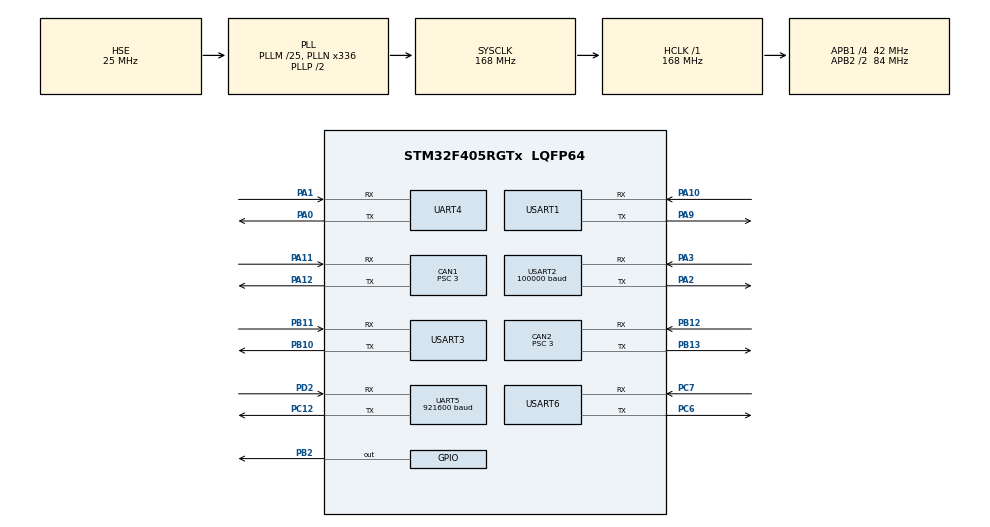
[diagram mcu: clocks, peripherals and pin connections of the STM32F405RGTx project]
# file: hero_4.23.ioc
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CAN1.ABOM=ENABLE
CAN1.AWUM=ENABLE
CAN1.BS1=CAN_BS1_9TQ
CAN1.BS2=CAN_BS2_4TQ
CAN1.CalculateBaudRate=1000000
CAN1.CalculateTimeBit=1000
CAN1.CalculateTimeQuantum=71.42857142857143
CAN1.NART=DISABLE
CAN1.Prescaler=3
CAN1.TXFP=ENABLE
CAN2.ABOM=ENABLE
CAN2.AWUM=ENABLE
CAN2.BS1=CAN_BS1_9TQ
CAN2.BS2=CAN_BS2_4TQ
CAN2.CalculateBaudRate=1000000
CAN2.CalculateTimeBit=1000
CAN2.CalculateTimeQuantum=71.42857142857143
CAN2.NART=ENABLE
CAN2.Prescaler=3
CAN2.TXFP=ENABLE
Dma.Request0=USART2_RX
Dma.Request1=UART4_RX
Dma.Request2=UART5_RX
Dma.Request3=USART1_RX
Dma.Request4=USART6_RX
Dma.Request5=USART6_TX
Dma.Request6=UART5_TX
Dma.UART4_RX.1.Direction=DMA_PERIPH_TO_MEMORY
Dma.UART4_RX.1.FIFOMode=DMA_FIFOMODE_DISABLE
Dma.UART4_RX.1.Instance=DMA1_Stream2
Dma.UART4_RX.1.MemDataAlignment=DMA_MDATAALIGN_BYTE
Dma.UART4_RX.1.MemInc=DMA_MINC_ENABLE
Dma.UART4_RX.1.Mode=DMA_CIRCULAR
Dma.UART4_RX.1.PeriphDataAlignment=DMA_PDATAALIGN_BYTE
Dma.UART4_RX.1.PeriphInc=DMA_PINC_DISABLE
Dma.UART4_RX.1.Priority=DMA_PRIORITY_VERY_HIGH
Dma.UART5_RX.2.Direction=DMA_PERIPH_TO_MEMORY
Dma.UART5_RX.2.FIFOMode=DMA_FIFOMODE_DISABLE
Dma.UART5_RX.2.Instance=DMA1_Stream0
Dma.UART5_RX.2.MemDataAlignment=DMA_MDATAALIGN_BYTE
Dma.UART5_RX.2.MemInc=DMA_MINC_ENABLE
Dma.UART5_RX.2.Mode=DMA_CIRCULAR
Dma.UART5_RX.2.PeriphDataAlignment=DMA_PDATAALIGN_BYTE
Dma.UART5_RX.2.PeriphInc=DMA_PINC_DISABLE
Dma.UART5_RX.2.Priority=DMA_PRIORITY_LOW
Dma.UART5_TX.6.Direction=DMA_MEMORY_TO_PERIPH
Dma.UART5_TX.6.FIFOMode=DMA_FIFOMODE_DISABLE
Dma.UART5_TX.6.Instance=DMA1_Stream7
Dma.UART5_TX.6.MemDataAlignment=DMA_MDATAALIGN_BYTE
Dma.UART5_TX.6.MemInc=DMA_MINC_ENABLE
Dma.UART5_TX.6.Mode=DMA_CIRCULAR
Dma.UART5_TX.6.PeriphDataAlignment=DMA_PDATAALIGN_BYTE
Dma.UART5_TX.6.PeriphInc=DMA_PINC_DISABLE
Dma.UART5_TX.6.Priority=DMA_PRIORITY_LOW
Dma.USART1_RX.3.Direction=DMA_PERIPH_TO_MEMORY
Dma.USART1_RX.3.FIFOMode=DMA_FIFOMODE_DISABLE
Dma.USART1_RX.3.Instance=DMA2_Stream2
Dma.USART1_RX.3.MemDataAlignment=DMA_MDATAALIGN_BYTE
Dma.USART1_RX.3.MemInc=DMA_MINC_ENABLE
Dma.USART1_RX.3.Mode=DMA_CIRCULAR
Dma.USART1_RX.3.PeriphDataAlignment=DMA_PDATAALIGN_BYTE
Dma.USART1_RX.3.PeriphInc=DMA_PINC_DISABLE
Dma.USART1_RX.3.Priority=DMA_PRIORITY_VERY_HIGH
Dma.USART2_RX.0.Direction=DMA_PERIPH_TO_MEMORY
Dma.USART2_RX.0.FIFOMode=DMA_FIFOMODE_DISABLE
Dma.USART2_RX.0.Instance=DMA1_Stream5
Dma.USART2_RX.0.MemDataAlignment=DMA_MDATAALIGN_BYTE
Dma.USART2_RX.0.MemInc=DMA_MINC_ENABLE
Dma.USART2_RX.0.Mode=DMA_NORMAL
Dma.USART2_RX.0.PeriphDataAlignment=DMA_PDATAALIGN_BYTE
Dma.USART2_RX.0.PeriphInc=DMA_PINC_DISABLE
Dma.USART2_RX.0.Priority=DMA_PRIORITY_VERY_HIGH
Dma.USART6_RX.4.Direction=DMA_PERIPH_TO_MEMORY
Dma.USART6_RX.4.FIFOMode=DMA_FIFOMODE_DISABLE
Dma.USART6_RX.4.Instance=DMA2_Stream1
Dma.USART6_RX.4.MemDataAlignment=DMA_MDATAALIGN_BYTE
Dma.USART6_RX.4.MemInc=DMA_MINC_ENABLE
Dma.USART6_RX.4.Mode=DMA_CIRCULAR
Dma.USART6_RX.4.PeriphDataAlignment=DMA_PDATAALIGN_BYTE
Dma.USART6_RX.4.PeriphInc=DMA_PINC_DISABLE
Dma.USART6_RX.4.Priority=DMA_PRIORITY_LOW
Dma.USART6_TX.5.Direction=DMA_MEMORY_TO_PERIPH
Dma.USART6_TX.5.FIFOMode=DMA_FIFOMODE_DISABLE
Dma.USART6_TX.5.Instance=DMA2_Stream6
Dma.USART6_TX.5.MemDataAlignment=DMA_MDATAALIGN_BYTE
Dma.USART6_TX.5.MemInc=DMA_MINC_ENABLE
Dma.USART6_TX.5.Mode=DMA_CIRCULAR
Dma.USART6_TX.5.PeriphDataAlignment=DMA_PDATAALIGN_BYTE
Dma.USART6_TX.5.PeriphInc=DMA_PINC_DISABLE
Dma.USART6_TX.5.Priority=DMA_PRIORITY_LOW
FREERTOS.BinarySemaphores01=Imu_flag,Dynamic,NULL;Rc_flag,Dynamic,NULL;Ranging_flag,Dynamic,NULL
FREERTOS.INCLUDE_vTaskDelayUntil=1
FREERTOS.Tasks01=Running,-3,128,Task_Is_Running,Default,NULL,Dynamic,NULL,NULL;Gimbal__Task,0,512,Gimbal_Task,As external,NULL,Dynamic,NULL,NULL;can__Task,-1,512,can_Task,As external,NULL,Dynamic,NULL,NULL;Shoot__Task,0,512,Shoot_task,As external,NULL,Dynamic,NULL,NULL;vofa__task,-2,128,vofa__Task,As external,NULL,Dynamic,NULL,NULL
Mcu.Family=STM32F4
Mcu.Name=STM32F405RGTx
Mcu.Package=LQFP64
NVIC.CAN1_RX0_IRQn=true\:5\:0\:true\:false\:true\:true\:true\:true\:true
NVIC.CAN2_RX0_IRQn=true\:5\:0\:true\:false\:true\:true\:true\:true\:true
NVIC.DMA1_Stream0_IRQn=true\:5\:0\:false\:false\:true\:true\:false\:true\:true
NVIC.DMA1_Stream2_IRQn=true\:5\:0\:false\:false\:true\:true\:false\:true\:true
NVIC.DMA1_Stream5_IRQn=true\:5\:0\:true\:false\:true\:true\:false\:true\:true
NVIC.DMA1_Stream7_IRQn=true\:5\:0\:false\:false\:true\:true\:false\:true\:true
NVIC.DMA2_Stream1_IRQn=true\:5\:0\:false\:false\:true\:true\:false\:true\:true
NVIC.DMA2_Stream2_IRQn=true\:5\:0\:false\:false\:true\:true\:false\:true\:true
NVIC.DMA2_Stream6_IRQn=true\:5\:0\:false\:false\:true\:true\:false\:true\:true
NVIC.PriorityGroup=NVIC_PRIORITYGROUP_4
NVIC.TIM8_TRG_COM_TIM14_IRQn=true\:15\:0\:true\:false\:true\:false\:false\:true\:true
NVIC.TimeBase=TIM8_TRG_COM_TIM14_IRQn
NVIC.TimeBaseIP=TIM14
NVIC.UART4_IRQn=true\:8\:0\:true\:false\:true\:true\:true\:true\:true
NVIC.UART5_IRQn=true\:5\:0\:true\:false\:true\:true\:true\:true\:true
NVIC.USART1_IRQn=true\:7\:0\:true\:false\:true\:true\:true\:true\:true
NVIC.USART2_IRQn=true\:7\:0\:true\:false\:true\:true\:true\:true\:true
NVIC.USART6_IRQn=true\:5\:0\:false\:false\:true\:true\:true\:true\:true
PA0-WKUP.Mode=Asynchronous
PA0-WKUP.Signal=UART4_TX
PA1.Mode=Asynchronous
PA1.Signal=UART4_RX
PA10.Mode=Asynchronous
PA10.Signal=USART1_RX
PA11.GPIO_PuPd=GPIO_NOPULL
PA11.Mode=CAN_Activate
PA11.Signal=CAN1_RX
PA12.Mode=CAN_Activate
PA12.Signal=CAN1_TX
PA13.Mode=Serial_Wire
PA13.Signal=SYS_JTMS-SWDIO
PA14.Mode=Serial_Wire
PA14.Signal=SYS_JTCK-SWCLK
PA2.GPIO_PuPd=GPIO_PULLUP
PA2.Mode=Asynchronous
PA2.Signal=USART2_TX
PA3.GPIO_PuPd=GPIO_PULLUP
PA3.Mode=Asynchronous
PA3.Signal=USART2_RX
PA9.Mode=Asynchronous
PA9.Signal=USART1_TX
PB10.Mode=Asynchronous
PB10.Signal=USART3_TX
PB11.Mode=Asynchronous
PB11.Signal=USART3_RX
PB12.Mode=CAN_Activate
PB12.Signal=CAN2_RX
PB13.Mode=CAN_Activate
PB13.Signal=CAN2_TX
PB2.Signal=GPIO_Output
PC12.Mode=Asynchronous
PC12.Signal=UART5_TX
PC6.Mode=Asynchronous
PC6.Signal=USART6_TX
PC7.Mode=Asynchronous
PC7.Signal=USART6_RX
PD2.Mode=Asynchronous
PD2.Signal=UART5_RX
PH0-OSC_IN.Mode=HSE-External-Oscillator
PH0-OSC_IN.Signal=RCC_OSC_IN
PH1-OSC_OUT.Mode=HSE-External-Oscillator
PH1-OSC_OUT.Signal=RCC_OSC_OUT
ProjectManager.HeapSize=0x800
ProjectManager.StackSize=0x800
ProjectManager.TargetToolchain=MDK-ARM V5
RCC.48MHZClocksFreq_Value=84000000
RCC.AHBFreq_Value=168000000
RCC.APB1CLKDivider=RCC_HCLK_DIV4
RCC.APB1Freq_Value=42000000
RCC.APB1TimFreq_Value=84000000
RCC.APB2CLKDivider=RCC_HCLK_DIV2
RCC.APB2Freq_Value=84000000
RCC.APB2TimFreq_Value=168000000
RCC.CortexFreq_Value=168000000
RCC.HCLKFreq_Value=168000000
RCC.HSE_VALUE=25000000
RCC.HSI_VALUE=16000000
RCC.LSE_VALUE=32768
RCC.PLLM=25
RCC.PLLN=336
RCC.PLLSourceVirtual=RCC_PLLSOURCE_HSE
RCC.SYSCLKFreq_VALUE=168000000
RCC.SYSCLKSource=RCC_SYSCLKSOURCE_PLLCLK
RCC.VCOOutputFreq_Value=336000000
STMicroelectronics.X-CUBE-ALGOBUILD.1.3.0.LibraryCcDSPOoLibraryJjDSPOoLibrary=true
UART4.VirtualMode=Asynchronous
UART5.BaudRate=921600
UART5.VirtualMode=Asynchronous
USART1.VirtualMode=VM_ASYNC
USART2.BaudRate=100000
USART2.Parity=PARITY_EVEN
USART2.VirtualMode=VM_ASYNC
USART2.WordLength=WORDLENGTH_9B
USART3.VirtualMode=VM_ASYNC
USART6.VirtualMode=VM_ASYNC
VP_FREERTOS_VS_CMSIS_V1.Mode=CMSIS_V1
VP_STMicroelectronics.X-CUBE-ALGOBUILD_VS_DSPOoLibraryJjLibrary_1.3.0_1.3.0.Mode=DSPOoLibraryJjLibrary
VP_SYS_VS_tim14.Mode=TIM14
board=custom

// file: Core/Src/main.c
/* USER CODE BEGIN Header */
/**
  ******************************************************************************
  * @file           : main.c
  * @brief          : Main program body
  ******************************************************************************
  * @attention
  *
  * Copyright (c) 2023 STMicroelectronics.
  * All rights reserved.
  *
  * This software is licensed under terms that can be found in the LICENSE file
  * in the root directory of this software component.
  * If no LICENSE file comes with this software, it is provided AS-IS.
  *
  ******************************************************************************
  */
/* USER CODE END Header */
#include "main.h"
#include "cmsis_os.h"
#include "can.h"
#include "dma.h"
#include "usart.h"
#include "gpio.h"

/* USER CODE BEGIN Includes */
#include "imu_data_decode.h"
#include "Ranging.h"
/* USER CODE END Includes */

/* USER CODE BEGIN PV */
extern volatile uint8_t sbus_rx_buffer[2][18u];
extern uint8_t UART5_temp[128];
extern uint8_t ranging_rc_buffer[8];
/* USER CODE END PV */

void SystemClock_Config(void);
void MX_FREERTOS_Init(void);

int main(void)
{

  /* MCU Configuration--------------------------------------------------------*/

  /* Reset of all peripherals, Initializes the Flash interface and the Systick. */
  HAL_Init();

  /* Configure the system clock */
  SystemClock_Config();

  /* Initialize all configured peripherals */
  MX_GPIO_Init();
  MX_DMA_Init();
  MX_CAN1_Init();
  MX_CAN2_Init();
  MX_USART2_UART_Init();
  MX_UART5_Init();
  MX_USART3_UART_Init();
  MX_UART4_Init();
  MX_USART1_UART_Init();
  MX_USART6_UART_Init();
  /* USER CODE BEGIN 2 */

	/*CAN config*/
	CAN1_Filter_Config_and_Start();
	CAN2_Filter_Config_and_Start();
	/*RC_dma_receive*/
  f_RC_data_init();
	__HAL_UART_ENABLE_IT(&huart2,UART_IT_IDLE);
	HAL_UART_Receive_DMA(&huart2,(uint8_t*)&sbus_rx_buffer[0][0],18u);
  /*Imu_receive*/
  __HAL_UART_ENABLE_IT(&huart5, UART_IT_IDLE);
	HAL_UART_Receive_DMA(&huart5,UART5_temp,128);

	__HAL_UART_ENABLE_IT(&huart6,UART_IT_IDLE);
	HAL_UART_Receive_DMA(&huart6,(uint8_t*)&ranging_rc_buffer[0],8u);
  f_ranging_init();
  /* USER CODE END 2 */

  /* Call init function for freertos objects (in freertos.c) */
  MX_FREERTOS_Init();

  /* Start scheduler */
  osKernelStart();
  /* We should never get here as control is now taken by the scheduler */
  /* Infinite loop */
  while (1)
  {

  }
}

void SystemClock_Config(void)
{
  RCC_OscInitTypeDef RCC_OscInitStruct = {0};
  RCC_ClkInitTypeDef RCC_ClkInitStruct = {0};

  /** Configure the main internal regulator output voltage
  */
  __HAL_RCC_PWR_CLK_ENABLE();
  __HAL_PWR_VOLTAGESCALING_CONFIG(PWR_REGULATOR_VOLTAGE_SCALE1);

  /** Initializes the RCC Oscillators according to the specified parameters
  * in the RCC_OscInitTypeDef structure.
  */
  RCC_OscInitStruct.OscillatorType = RCC_OSCILLATORTYPE_HSE;
  RCC_OscInitStruct.HSEState = RCC_HSE_ON;
  RCC_OscInitStruct.PLL.PLLState = RCC_PLL_ON;
  RCC_OscInitStruct.PLL.PLLSource = RCC_PLLSOURCE_HSE;
  RCC_OscInitStruct.PLL.PLLM = 25;
  RCC_OscInitStruct.PLL.PLLN = 336;
  RCC_OscInitStruct.PLL.PLLP = RCC_PLLP_DIV2;
  RCC_OscInitStruct.PLL.PLLQ = 4;
  if (HAL_RCC_OscConfig(&RCC_OscInitStruct) != HAL_OK)
  {
    Error_Handler();
  }

  /** Initializes the CPU, AHB and APB buses clocks
  */
  RCC_ClkInitStruct.ClockType = RCC_CLOCKTYPE_HCLK|RCC_CLOCKTYPE_SYSCLK
                              |RCC_CLOCKTYPE_PCLK1|RCC_CLOCKTYPE_PCLK2;
  RCC_ClkInitStruct.SYSCLKSource = RCC_SYSCLKSOURCE_PLLCLK;
  RCC_ClkInitStruct.AHBCLKDivider = RCC_SYSCLK_DIV1;
  RCC_ClkInitStruct.APB1CLKDivider = RCC_HCLK_DIV4;
  RCC_ClkInitStruct.APB2CLKDivider = RCC_HCLK_DIV2;

  if (HAL_RCC_ClockConfig(&RCC_ClkInitStruct, FLASH_LATENCY_5) != HAL_OK)
  {
    Error_Handler();
  }
}

void HAL_TIM_PeriodElapsedCallback(TIM_HandleTypeDef *htim)
{
  if (htim->Instance == TIM14) {
    HAL_IncTick();
  }
}

void Error_Handler(void)
{
  __disable_irq();
  while (1)
  {
  }
}

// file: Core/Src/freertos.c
/* USER CODE BEGIN Header */
/**
  ******************************************************************************
  * File Name          : freertos.c
  * Description        : Code for freertos applications
  ******************************************************************************
  * @attention
  *
  * Copyright (c) 2023 STMicroelectronics.
  * All rights reserved.
  *
  * This software is licensed under terms that can be found in the LICENSE file
  * in the root directory of this software component.
  * If no LICENSE file comes with this software, it is provided AS-IS.
  *
  ******************************************************************************
  */
/* USER CODE END Header */

#include "FreeRTOS.h"
#include "task.h"
#include "main.h"
#include "cmsis_os.h"

/* USER CODE BEGIN Includes */
#include "Report.h"
#include "Ranging.h"
#include "Laser_operation.h"
#include "Gimbal.h"
#include "Can_Transfer.h"
/* USER CODE END Includes */

osThreadId RunningHandle;
osThreadId Gimbal__TaskHandle;
osThreadId can__TaskHandle;
osThreadId Shoot__TaskHandle;
osThreadId vofa__taskHandle;
osSemaphoreId Imu_flagHandle;
osSemaphoreId Rc_flagHandle;
osSemaphoreId Ranging_flagHandle;

void Task_Is_Running(void const * argument);
extern void Gimbal_Task(void const * argument);
extern void can_Task(void const * argument);
extern void Shoot_task(void const * argument);
extern void vofa__Task(void const * argument);

void MX_FREERTOS_Init(void); /* (MISRA C 2004 rule 8.1) */

/* GetIdleTaskMemory prototype (linked to static allocation support) */
void vApplicationGetIdleTaskMemory( StaticTask_t **ppxIdleTaskTCBBuffer, StackType_t **ppxIdleTaskStackBuffer, uint32_t *pulIdleTaskStackSize );

/* USER CODE BEGIN GET_IDLE_TASK_MEMORY */
static StaticTask_t xIdleTaskTCBBuffer;
static StackType_t xIdleStack[configMINIMAL_STACK_SIZE];

void vApplicationGetIdleTaskMemory( StaticTask_t **ppxIdleTaskTCBBuffer, StackType_t **ppxIdleTaskStackBuffer, uint32_t *pulIdleTaskStackSize )
{
  *ppxIdleTaskTCBBuffer = &xIdleTaskTCBBuffer;
  *ppxIdleTaskStackBuffer = &xIdleStack[0];
  *pulIdleTaskStackSize = configMINIMAL_STACK_SIZE;
  /* place for user code */
}
/* USER CODE END GET_IDLE_TASK_MEMORY */

void MX_FREERTOS_Init(void) {

  /* Create the semaphores(s) */
  /* definition and creation of Imu_flag */
  osSemaphoreDef(Imu_flag);
  Imu_flagHandle = osSemaphoreCreate(osSemaphore(Imu_flag), 1);

  /* definition and creation of Rc_flag */
  osSemaphoreDef(Rc_flag);
  Rc_flagHandle = osSemaphoreCreate(osSemaphore(Rc_flag), 1);

  /* definition and creation of Ranging_flag */
  osSemaphoreDef(Ranging_flag);
  Ranging_flagHandle = osSemaphoreCreate(osSemaphore(Ranging_flag), 1);

  /* Create the thread(s) */
  /* definition and creation of Running */
  osThreadDef(Running, Task_Is_Running, osPriorityIdle, 0, 128);
  RunningHandle = osThreadCreate(osThread(Running), NULL);

  /* definition and creation of Gimbal__Task */
  osThreadDef(Gimbal__Task, Gimbal_Task, osPriorityNormal, 0, 512);
  Gimbal__TaskHandle = osThreadCreate(osThread(Gimbal__Task), NULL);

  /* definition and creation of can__Task */
  osThreadDef(can__Task, can_Task, osPriorityBelowNormal, 0, 512);
  can__TaskHandle = osThreadCreate(osThread(can__Task), NULL);

  /* definition and creation of Shoot__Task */
  osThreadDef(Shoot__Task, Shoot_task, osPriorityNormal, 0, 512);
  Shoot__TaskHandle = osThreadCreate(osThread(Shoot__Task), NULL);

  /* definition and creation of vofa__task */
  osThreadDef(vofa__task, vofa__Task, osPriorityLow, 0, 128);
  vofa__taskHandle = osThreadCreate(osThread(vofa__task), NULL);

}

void Task_Is_Running(void const * argument)
{
  /* USER CODE BEGIN Task_Is_Running */
  uint32_t PreviousWaketime = osKernelSysTick();
  /* Infinite loop */
  for(;;)
  {
    HAL_GPIO_TogglePin(GPIOB,GPIO_PIN_2);
    osDelayUntil(&PreviousWaketime,400);
  }
  /* USER CODE END Task_Is_Running */
}
